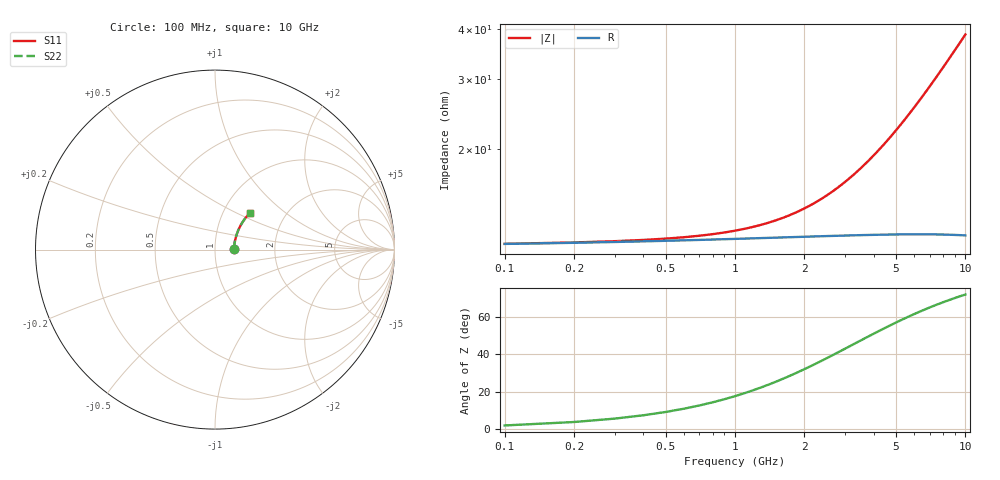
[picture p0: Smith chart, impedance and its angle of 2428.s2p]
# Hz S RI R 50.00
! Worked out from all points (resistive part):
!   100 points, 100 MHz to 10 GHz, reference 50 ohm
!   read as one part in series: R = 11.5 ohm at 100 MHz
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1e8  0.1032 0.0024  0.8968 -0.00361  0.8968 -0.00361  0.1032 0.0024
7e8  0.1059 0.0167  0.8941 -0.0251  0.8941 -0.0251  0.1059 0.0167
1e9  0.1069 0.0238  0.893 -0.0358  0.893 -0.0358  0.1069 0.0238
1.2e9  0.1077 0.0285  0.8922 -0.043  0.8922 -0.043  0.1077 0.0285
1.4e9  0.1085 0.0332  0.8914 -0.0501  0.8914 -0.0501  0.1085 0.0332
1.8e9  0.1102 0.0426  0.8896 -0.0642  0.8896 -0.0642  0.1102 0.0426
2.1e9  0.1116 0.0495  0.8881 -0.0748  0.8881 -0.0748  0.1116 0.0495
2.5e9  0.1137 0.0588  0.8858 -0.0889  0.8858 -0.0889  0.1137 0.0588
2.9e9  0.116 0.0679  0.8833 -0.1029  0.8833 -0.1029  0.116 0.0679
3.4e9  0.1193 0.0792  0.8798 -0.1202  0.8798 -0.1202  0.1193 0.0792
4.4e9  0.1271 0.1013  0.8714 -0.1543  0.8714 -0.1543  0.1271 0.1013
5.1e9  0.1335 0.1163  0.8644 -0.1778  0.8644 -0.1778  0.1335 0.1163
5.5e9  0.1375 0.1247  0.8601 -0.191  0.8601 -0.191  0.1375 0.1247
5.9e9  0.1418 0.1329  0.8555 -0.204  0.8555 -0.204  0.1418 0.1329
6.3e9  0.1463 0.1409  0.8507 -0.2169  0.8507 -0.2169  0.1463 0.1409
6.7e9  0.151 0.1488  0.8455 -0.2296  0.8455 -0.2296  0.151 0.1488
7.1e9  0.1559 0.1565  0.8402 -0.2422  0.8402 -0.2422  0.1559 0.1565
7.5e9  0.161 0.164  0.8346 -0.2545  0.8346 -0.2545  0.161 0.164
7.9e9  0.1664 0.1713  0.8288 -0.2667  0.8288 -0.2667  0.1664 0.1713
8.4e9  0.1734 0.1802  0.8212 -0.2816  0.8212 -0.2816  0.1734 0.1802
9.2e9  0.1851 0.1937  0.8083 -0.3048  0.8083 -0.3048  0.1851 0.1937
1e10  0.1975 0.2063  0.7947 -0.3272  0.7947 -0.3272  0.1975 0.2063
